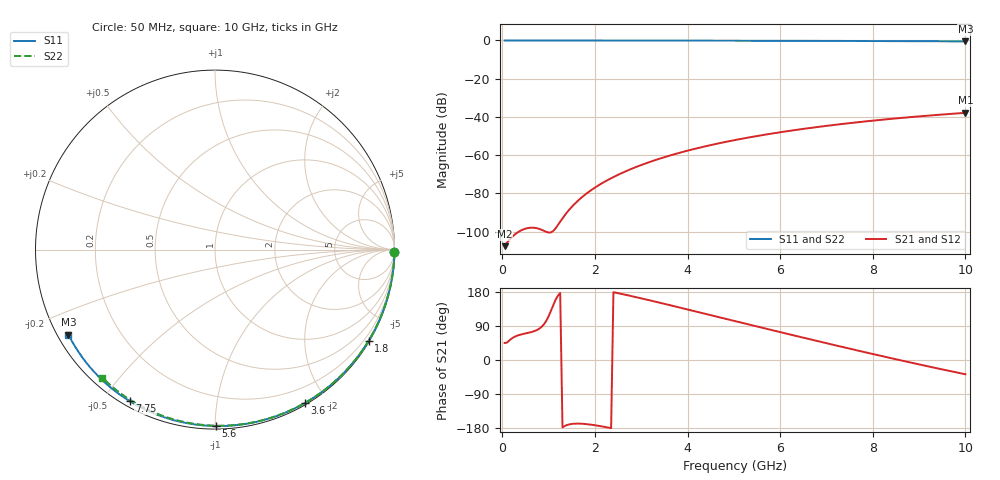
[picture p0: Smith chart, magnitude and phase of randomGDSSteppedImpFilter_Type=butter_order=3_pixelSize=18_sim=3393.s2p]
! freq	dB(S11)	phase(S11)	dB(S12)	phase(S12)
!  dB(S21)	phase(S21)	dB(S22)	phase(S22)
!S-par simulation data
#  GHz  S  DB  R 50
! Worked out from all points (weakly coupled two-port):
!   200 points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, 50 MHz to 10 GHz, reference 50 ohm
!   highest |S21| = -37.87 dB at 10 GHz (marker M1); lowest = -107.7 dB at 50 MHz (marker M2)
!   lowest |S11| = -0.5 dB at 10 GHz (marker M3), VSWR 34.70, Z = 1.54 - j13.4 ohm
!   |S11| at or under -10 dB: nowhere
!   |S22| runs from -0.4 to 0.0 dB; largest |S21 - S12| = 0
!   S11 on the Smith chart (normalised r, x): 50 MHz: open; 1.8 GHz: 0.03, -3.65; 3.6 GHz: 0.02, -1.74; 5.6 GHz: 0.02, -1.01; 7.75 GHz: 0.02, -0.58; 10 GHz: 0.03, -0.27
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0.05  -0.00 -0.9  -107.67 45.0  -107.67 45.0  -0.00 -0.8
0.45  -0.01 -7.8  -98.92 68.7  -98.92 68.7  -0.01 -6.8
0.9  -0.02 -15.5  -99.65 94.3  -99.65 94.3  -0.02 -13.6
1.3  -0.03 -22.3  -93.12 -177.8  -93.12 -177.8  -0.02 -19.5
1.75  -0.04 -29.8  -81.43 -168.5  -81.43 -168.5  -0.03 -26.2
1.8  -0.04 -30.7  -80.46 -169.0  -80.46 -169.0  -0.03 -26.9
1.85  -0.04 -31.5  -79.55 -169.7  -79.55 -169.7  -0.04 -27.7
2.05  -0.04 -34.8  -76.24 -173.1  -76.24 -173.1  -0.04 -30.6
2.2  -0.05 -37.3  -74.08 -176.3  -74.08 -176.3  -0.04 -32.8
2.55  -0.05 -43.0  -69.74 175.1  -69.74 175.1  -0.05 -37.8
2.95  -0.06 -49.5  -65.66 164.1  -65.66 164.1  -0.06 -43.5
3.4  -0.07 -56.6  -61.86 151.2  -61.86 151.2  -0.07 -49.9
3.6  -0.08 -59.8  -60.37 145.3  -60.37 145.3  -0.07 -52.7
4.3  -0.10 -70.5  -55.88 124.4  -55.88 124.4  -0.09 -62.2
5.05  -0.12 -81.7  -52.01 101.9  -52.01 101.9  -0.11 -72.2
5.6  -0.15 -89.7  -49.61 85.5  -49.61 85.5  -0.13 -79.3
6.15  -0.17 -97.5  -47.50 69.2  -47.50 69.2  -0.15 -86.2
6.7  -0.20 -105.1  -45.63 53.0  -45.63 53.0  -0.18 -93.0
7.75  -0.27 -119.4  -42.60 22.8  -42.60 22.8  -0.24 -105.6
8.35  -0.32 -127.5  -41.14 6.1  -41.14 6.1  -0.29 -112.6
9.2  -0.41 -138.9  -39.34 -17.0  -39.34 -17.0  -0.36 -122.4
10  -0.50 -149.9  -37.87 -37.6  -37.87 -37.6  -0.45 -131.4
